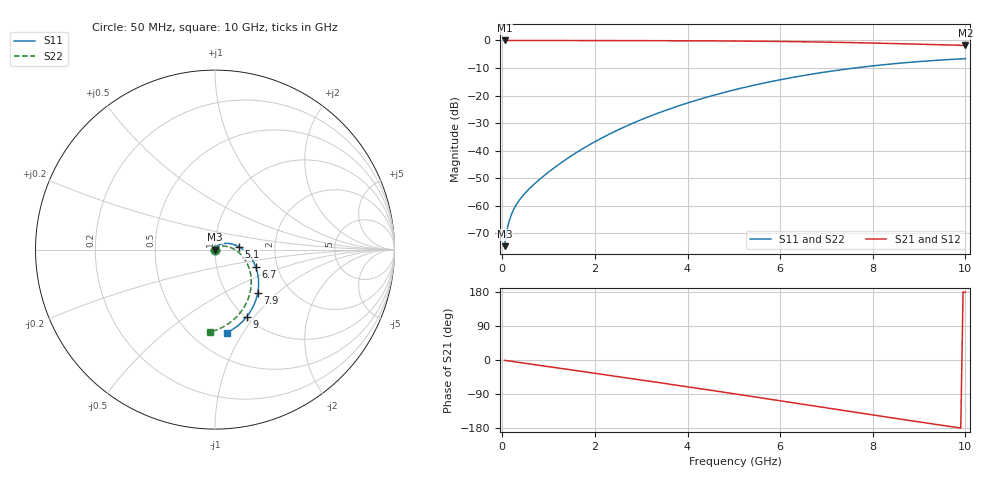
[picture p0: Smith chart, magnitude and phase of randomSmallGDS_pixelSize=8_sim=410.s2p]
! freq	dB(S11)	phase(S11)	dB(S12)	phase(S12)
!  dB(S21)	phase(S21)	dB(S22)	phase(S22)
!S-par simulation data
#  GHz  S  DB  R 50
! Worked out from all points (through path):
!   200 points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, 50 MHz to 10 GHz, reference 50 ohm
!   highest |S21| = 0.00 dB at 50 MHz (marker M1); lowest = -1.8 dB at 10 GHz (marker M2)
!   group delay of S21, straight-line fit = 50.7 ps
!   lowest |S11| = -74.7 dB at 50 MHz (marker M3), VSWR 1.00, Z = 50 + j0.0179 ohm
!   |S11| at or under -10 dB: start of sweep to 7.609 GHz
!   |S22| runs from -74.5 to -6.7 dB; largest |S21 - S12| = 0
!   S11 on the Smith chart (normalised r, x): 50 MHz: 1.00, +0.00; 5.1 GHz: 1.30, +0.05; 6.7 GHz: 1.55, -0.32; 7.9 GHz: 1.39, -0.75; 9 GHz: 1.01, -0.91; 10 GHz: 0.72, -0.85
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0.05  -74.68 75.6  -0.00 -0.9  -0.00 -0.9  -74.46 74.5
0.1  -68.88 80.5  -0.00 -1.8  -0.00 -1.8  -68.67 77.9
0.15  -65.46 81.4  -0.00 -2.7  -0.00 -2.7  -65.28 77.4
0.2  -63.05 81.4  -0.00 -3.5  -0.00 -3.5  -62.91 76.3
0.25  -61.20 81.3  -0.00 -4.4  -0.00 -4.4  -61.09 75.0
0.4  -57.26 81.0  -0.01 -7.1  -0.01 -7.1  -57.21 71.9
0.65  -52.76 81.4  -0.01 -11.4  -0.01 -11.4  -52.75 68.0
0.95  -48.43 80.8  -0.02 -16.7  -0.02 -16.7  -48.49 63.7
1.35  -43.47 77.1  -0.03 -23.7  -0.03 -23.7  -43.62 57.6
1.75  -39.17 71.1  -0.04 -30.7  -0.04 -30.7  -39.35 51.2
2.55  -32.07 56.5  -0.05 -44.8  -0.05 -44.8  -32.25 38.0
3.4  -26.15 40.1  -0.08 -59.9  -0.08 -59.9  -26.29 23.6
4.25  -21.41 23.7  -0.13 -75.3  -0.13 -75.3  -21.53 8.9
5.05  -17.77 8.4  -0.21 -90.0  -0.21 -90.0  -17.88 -5.2
5.1  -17.56 7.5  -0.22 -90.9  -0.22 -90.9  -17.67 -6.1
5.9  -14.60 -7.8  -0.34 -105.8  -0.34 -105.8  -14.70 -20.5
6.7  -12.18 -23.0  -0.52 -120.8  -0.52 -120.8  -12.28 -35.1
7.3  -10.68 -34.2  -0.70 -132.0  -0.70 -132.0  -10.78 -46.0
7.9  -9.42 -45.2  -0.91 -143.2  -0.91 -143.2  -9.53 -56.9
8.35  -8.62 -53.3  -1.08 -151.5  -1.08 -151.5  -8.73 -64.9
9  -7.66 -64.8  -1.36 -163.4  -1.36 -163.4  -7.78 -76.5
10  -6.61 -81.7  -1.80 178.7  -1.80 178.7  -6.73 -93.8
